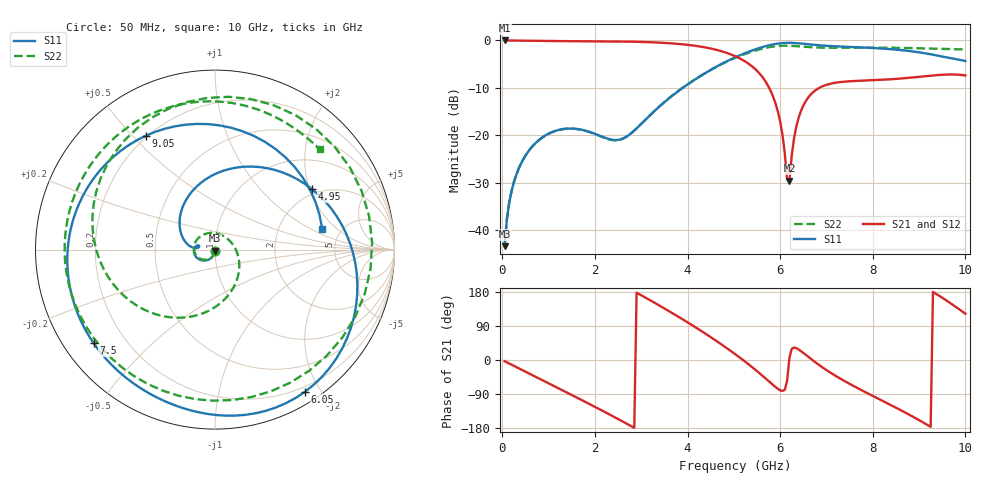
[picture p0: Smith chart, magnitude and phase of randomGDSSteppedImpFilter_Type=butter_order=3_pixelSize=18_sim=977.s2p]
! freq	dB(S11)	phase(S11)	dB(S12)	phase(S12)
!  dB(S21)	phase(S21)	dB(S22)	phase(S22)
!S-par simulation data
#  GHz  S  DB  R 50
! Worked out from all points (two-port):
!   200 points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, 50 MHz to 10 GHz, reference 50 ohm
!   highest |S21| = -0.01 dB at 50 MHz (marker M1); lowest = -29.5 dB at 6.2 GHz (marker M2)
!   |S21| within 3 dB of the highest: start of sweep to 4.952 GHz
!   lowest |S11| = -43.3 dB at 50 MHz (marker M3), VSWR 1.01, Z = 50 - j0.683 ohm
!   |S11| at or under -10 dB: start of sweep to 3.896 GHz
!   |S22| runs from -43.3 to -1.1 dB; largest |S21 - S12| = 0
!   S11 on the Smith chart (normalised r, x): 50 MHz: 1.00, -0.01; 4.95 GHz: 1.83, +2.08; 6.05 GHz: 0.14, -1.80; 7.5 GHz: 0.09, -0.34; 9.05 GHz: 0.19, +0.55; 10 GHz: 3.57, +1.33
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0.05  -43.31 -87.6  -0.01 -3.1  -0.01 -3.1  -43.31 -87.8
0.2  -31.71 -101.2  -0.02 -12.4  -0.02 -12.4  -31.72 -102.3
0.55  -23.53 -122.8  -0.06 -33.9  -0.06 -33.9  -23.54 -126.1
1.15  -19.04 -156.7  -0.14 -70.7  -0.14 -70.7  -19.04 -166.5
1.75  -18.89 175.1  -0.18 -107.8  -0.18 -107.8  -18.91 147.4
2.65  -20.43 173.6  -0.24 -165.6  -0.24 -165.6  -20.47 32.7
3.4  -13.86 156.5  -0.47 143.2  -0.47 143.2  -13.80 -52.7
4.15  -8.30 100.7  -1.11 88.0  -1.11 88.0  -8.27 -107.1
4.95  -3.91 31.9  -3.00 22.4  -3.00 22.4  -4.01 -170.2
5.05  -3.47 23.4  -3.42 13.6  -3.42 13.6  -3.59 -179.7
5.4  -2.09 -5.6  -5.51 -19.3  -5.51 -19.3  -2.33 142.1
5.7  -1.17 -29.9  -8.89 -50.3  -8.89 -50.3  -1.55 100.9
6.05  -0.56 -57.8  -19.85 -81.8  -19.85 -81.8  -1.12 40.8
6.2  -0.51 -69.1  -29.53 5.7  -29.53 5.7  -1.13 12.2
6.35  -0.58 -79.8  -18.09 31.2  -18.09 31.2  -1.21 -16.3
6.7  -0.90 -101.2  -11.01 -0.5  -11.01 -0.5  -1.45 -76.1
7.1  -1.19 -122.3  -9.09 -34.5  -9.09 -34.5  -1.55 -128.0
7.5  -1.37 -142.4  -8.60 -63.0  -8.60 -63.0  -1.54 -167.0
8.35  -1.82 171.3  -8.21 -116.4  -8.21 -116.4  -1.54 130.7
9.05  -2.59 121.3  -7.62 -162.1  -7.62 -162.1  -1.67 89.3
9.55  -3.49 71.0  -7.20 160.4  -7.20 160.4  -1.82 63.7
10  -4.32 11.1  -7.37 122.1  -7.37 122.1  -1.85 43.7
